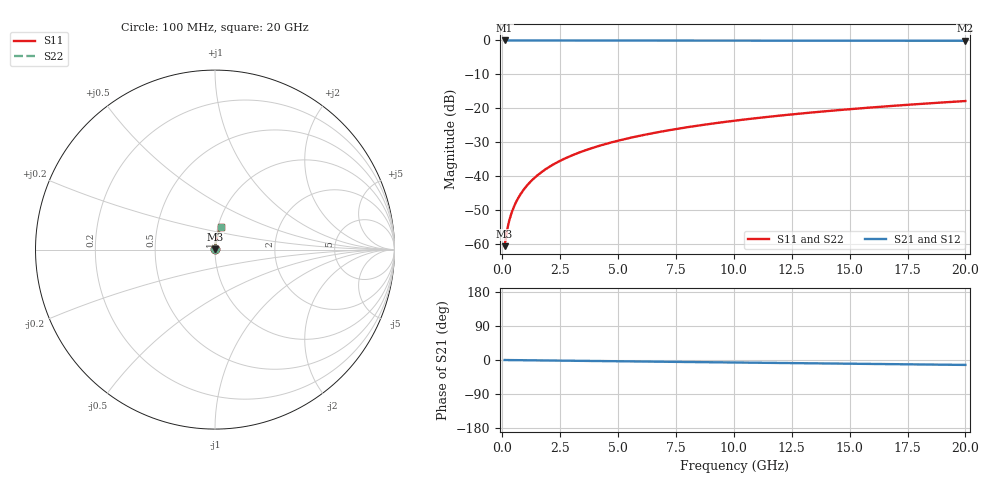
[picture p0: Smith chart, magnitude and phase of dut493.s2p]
! Touchstone file exported from HFSS 2026.1.0
!  File:  C:/ffzhzh/LocalFiles/Ansys_Project_Files/temp_train_BSMRDL_493_1783014063_46388.aedt
!  Generated:  01:42:17 AM Jul  3, 2026
!  Design:  BSMRDL
!  Project:  temp_train_BSMRDL_493_1783014063_46388
! Variables:
!  h_bsmrdl = 4.74um
!  h_ox = 20um
!  h_rdl = 5um
!  h_sub = 80um
!  h_tmrdl = 5um
!  h_tsv = 80um
!  h_via = 3um
!  l_bsmrdl = 148.67um
!  l_sub = 548.67um
!  l_tmrdl = 200um
!  m_sub = 200um
!  pitch = 56.72um
!  r_tsv = 6um
!  s_tmrdl = 10um
!  w_bsmrdl = 27.67um
!  w_sub = 500um
!  w_tmrdl = 12um
!  x_tsv_center1 = 206um
!  x_tsv_center2 = 382.34um
!  x_tsv_center3 = 594.34um
!  x_tsv_center4 = 770.68um
!  x_tsv_center5 = 982.68um
!  x_tsv_center6 = 1159.02um
# GHz S MA R 50.000000
! Terminal data exported
! Port[1] = BSM_RDL1_1_T1
! Port[2] = BSM_RDL1_1_T2
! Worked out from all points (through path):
!   200 points, 100 MHz to 20 GHz, reference 50 ohm
!   highest |S21| = -0.01 dB at 100 MHz (marker M1); lowest = -0.1 dB at 20 GHz (marker M2)
!   group delay of S21, straight-line fit = 1.8 ps
!   lowest |S11| = -60.5 dB at 100 MHz (marker M3), VSWR 1.00, Z = 50.1 + j0.074 ohm
!   |S11| at or under -10 dB: start of sweep to end of sweep
!   |S22| runs from -60.5 to -17.8 dB; largest |S21 - S12| = 2.2e-15
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0.1  0.0009431 51.6  0.9994 -0.1  0.9994 -0.1  0.0009431 51.6
! Gamma 0 0 0 0
! Port Impedance 50 0 50 0
0.2  0.001582 66.5  0.9994 -0.1  0.9994 -0.1  0.001582 66.5
0.3  0.002242 72.5  0.9993 -0.2  0.9993 -0.2  0.002242 72.5
0.4  0.002903 75.8  0.9993 -0.3  0.9993 -0.3  0.002903 75.8
0.5  0.003565 78.0  0.9993 -0.3  0.9993 -0.3  0.003565 78.0
0.7  0.004896 80.7  0.9992 -0.5  0.9992 -0.5  0.004896 80.7
0.8  0.005564 81.6  0.9992 -0.5  0.9992 -0.5  0.005564 81.6
1  0.006906 82.8  0.9992 -0.7  0.9992 -0.7  0.006906 82.8
1.2  0.008251 83.6  0.9991 -0.8  0.9991 -0.8  0.00825 83.6
1.4  0.009597 84.1  0.9991 -0.9  0.9991 -0.9  0.009597 84.1
1.7  0.01162 84.5  0.999 -1.1  0.999 -1.1  0.01162 84.5
2  0.01363 84.8  0.999 -1.3  0.999 -1.3  0.01363 84.8
2.7  0.01833 84.9  0.9988 -1.8  0.9988 -1.8  0.01833 84.9
3.5  0.02365 84.8  0.9985 -2.3  0.9985 -2.3  0.02365 84.8
4.2  0.02828 84.5  0.9983 -2.8  0.9983 -2.8  0.02828 84.5
5  0.03353 84.1  0.9979 -3.3  0.9979 -3.3  0.03353 84.1
6.8  0.04524 83.2  0.9972 -4.5  0.9972 -4.5  0.04524 83.2
8.3  0.05491 82.4  0.9965 -5.5  0.9965 -5.5  0.05491 82.4
10.1  0.06644 81.4  0.9955 -6.6  0.9955 -6.6  0.06644 81.4
13.4  0.08741 79.5  0.9936 -8.8  0.9936 -8.8  0.08741 79.5
16.7  0.1081 77.6  0.9912 -10.9  0.9912 -10.9  0.1081 77.6
20  0.1285 75.6  0.9885 -13.0  0.9885 -13.0  0.1285 75.6
